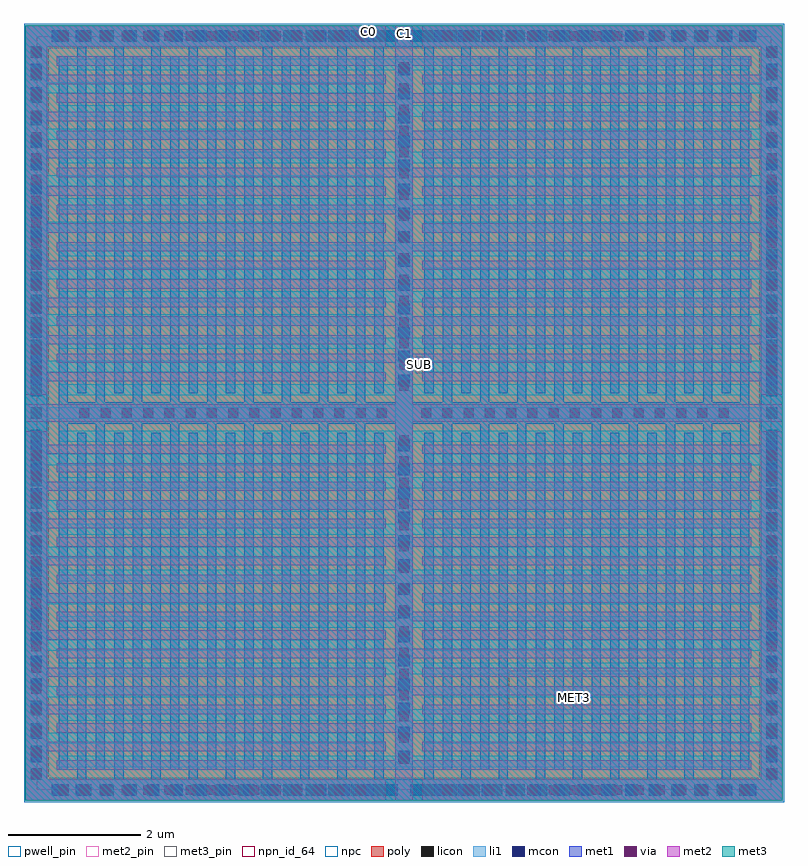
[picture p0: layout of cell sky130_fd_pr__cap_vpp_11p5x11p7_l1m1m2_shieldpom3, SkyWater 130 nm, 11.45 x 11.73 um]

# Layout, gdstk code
import gdstk
lib = gdstk.Library(unit=1e-6, precision=1e-09)
def R(c, l, rs):  # rectangles x0, y0, x1, y1
    for r in rs: c.add(gdstk.rectangle(r[:2], r[2:], *l))
def A(c, l, x, y, w, h, nx, ny, dx, dy):  # array of equal rectangles
    R(c, l, [(x+i*dx, y+j*dy, x+i*dx+w, y+j*dy+h) for i in range(nx) for j in range(ny)])
poly = (66, 20)
licon = (66, 44)
li1 = (67, 20)
mcon = (67, 44)
met1 = (68, 20)
via = (68, 44)
met2_pin = (69, 16)
met2 = (69, 20)
met3_pin = (70, 16)
met3 = (70, 20)
npn_id_64 = (82, 64)
npc = (95, 20)
pwell_pin = (122, 16)

sky130_fd_pr__cap_vpp_11 = lib.new_cell('sky130_fd_pr__cap_vpp_11p5x11p7_l1m1m2_shieldpom3')
R(sky130_fd_pr__cap_vpp_11, poly, [(0,0,5.84,6.005), (5.57,0,11.41,6.005), (0,5.685,5.84,11.69), (5.57,5.685,11.41,11.69)])
A(sky130_fd_pr__cap_vpp_11, licon, 0.485, 0.08, 0.17, 0.17, 15, 2, 0.34, 11.36)
A(sky130_fd_pr__cap_vpp_11, licon, 5.995, 0.08, 0.17, 0.17, 15, 2, 0.34, 11.36)
A(sky130_fd_pr__cap_vpp_11, licon, 0.08, 0.32, 0.17, 0.17, 1, 33, 0, 0.34)
A(sky130_fd_pr__cap_vpp_11, licon, 11.16, 0.32, 0.17, 0.17, 1, 33, 0, 0.34)
A(sky130_fd_pr__cap_vpp_11, li1, 0.5, 0.51, 5.07, 0.17, 1, 16, 0, 0.7)
A(sky130_fd_pr__cap_vpp_11, li1, 5.835, 0.51, 5.07, 0.17, 1, 16, 0, 0.7)
A(sky130_fd_pr__cap_vpp_11, li1, 0.33, 0.86, 5.07, 0.17, 1, 15, 0, 0.7)
A(sky130_fd_pr__cap_vpp_11, li1, 6.01, 0.86, 5.07, 0.17, 1, 15, 0, 0.7)
R(sky130_fd_pr__cap_vpp_11, li1, [(0,0,0.33,6.005), (0.33,0,5.84,0.33), (5.57,0,11.08,0.33), (11.08,0,11.41,6.005), (5.57,0.51,5.84,5.58), (5.57,5.58,5.84,11.18), (0,5.685,0.33,11.69), (11.08,5.685,11.41,11.69), (0.33,11.36,5.84,11.69), (5.57,11.36,11.08,11.69)])
A(sky130_fd_pr__cap_vpp_11, mcon, 0.4, 0.08, 0.17, 0.17, 30, 2, 0.36, 11.36)
A(sky130_fd_pr__cap_vpp_11, mcon, 0.08, 0.58, 0.17, 0.17, 1, 14, 0, 0.36)
A(sky130_fd_pr__cap_vpp_11, mcon, 11.16, 0.58, 0.17, 0.17, 1, 14, 0, 0.36)
A(sky130_fd_pr__cap_vpp_11, mcon, 5.62, 0.59, 0.17, 0.17, 1, 14, 0, 0.36)
A(sky130_fd_pr__cap_vpp_11, mcon, 5.62, 6.25, 0.17, 0.17, 1, 14, 0, 0.36)
A(sky130_fd_pr__cap_vpp_11, mcon, 0.08, 6.26, 0.17, 0.17, 1, 14, 0, 0.36)
A(sky130_fd_pr__cap_vpp_11, mcon, 11.16, 6.26, 0.17, 0.17, 1, 14, 0, 0.36)
A(sky130_fd_pr__cap_vpp_11, met1, 0.78, 0.33, 0.14, 5.215, 9, 2, 0.56, 5.815)
A(sky130_fd_pr__cap_vpp_11, met1, 6.01, 0.33, 0.14, 5.215, 9, 2, 0.56, 5.815)
A(sky130_fd_pr__cap_vpp_11, met1, 0.5, 0.47, 0.14, 5.215, 9, 2, 0.56, 5.535)
A(sky130_fd_pr__cap_vpp_11, met1, 6.29, 0.47, 0.14, 5.215, 9, 2, 0.56, 5.535)
R(sky130_fd_pr__cap_vpp_11, met1, [(0,0,5.84,0.33), (5.57,0,11.41,0.33), (0,0.33,0.33,5.55), (11.08,0.33,11.41,5.545), (5.57,0.47,5.84,5.685), (11.08,5.545,11.41,6.145), (0,5.55,0.33,6.145), (0.5,5.685,5.84,6.005), (5.57,5.685,10.91,6.005), (5.57,6.005,5.84,11.22), (0,6.145,0.33,11.36), (11.08,6.145,11.41,11.36), (0,11.36,5.84,11.69), (5.57,11.36,11.41,11.69)])
A(sky130_fd_pr__cap_vpp_11, via, 4.015, 0.09, 0.15, 0.15, 1, 3, 0, 5.68)
A(sky130_fd_pr__cap_vpp_11, via, 7.245, 0.09, 0.15, 0.15, 1, 3, 0, 5.68)
A(sky130_fd_pr__cap_vpp_11, via, 0.09, 0.335, 0.15, 0.15, 1, 16, 0, 0.32)
A(sky130_fd_pr__cap_vpp_11, via, 11.17, 0.335, 0.15, 0.15, 1, 16, 0, 0.32)
A(sky130_fd_pr__cap_vpp_11, via, 5.63, 0.56, 0.15, 0.15, 1, 16, 0, 0.32)
A(sky130_fd_pr__cap_vpp_11, via, 0.815, 5.77, 0.15, 0.15, 11, 1, 0.32, 0)
A(sky130_fd_pr__cap_vpp_11, via, 7.245, 5.77, 0.15, 0.15, 11, 1, 0.32, 0)
A(sky130_fd_pr__cap_vpp_11, via, 5.63, 6.18, 0.15, 0.15, 1, 16, 0, 0.32)
A(sky130_fd_pr__cap_vpp_11, via, 0.09, 6.405, 0.15, 0.15, 1, 16, 0, 0.32)
A(sky130_fd_pr__cap_vpp_11, via, 11.17, 6.405, 0.15, 0.15, 1, 16, 0, 0.32)
R(sky130_fd_pr__cap_vpp_11, via, [(0.495,0.09,0.645,0.24), (0.495,0.09,0.645,0.24), (0.815,0.09,0.965,0.24), (0.815,0.09,0.965,0.24), (1.135,0.09,1.285,0.24), (1.135,0.09,1.285,0.24), (1.455,0.09,1.605,0.24), (1.455,0.09,1.605,0.24), (1.775,0.09,1.925,0.24), (1.775,0.09,1.925,0.24), (2.095,0.09,2.245,0.24), (2.095,0.09,2.245,0.24), (2.415,0.09,2.565,0.24), (2.415,0.09,2.565,0.24), (2.735,0.09,2.885,0.24), (2.735,0.09,2.885,0.24), (3.055,0.09,3.205,0.24), (3.055,0.09,3.205,0.24), (3.375,0.09,3.525,0.24), (3.375,0.09,3.525,0.24), (3.695,0.09,3.845,0.24), (3.695,0.09,3.845,0.24), (4.015,0.09,4.165,0.24), (4.335,0.09,4.485,0.24), (4.335,0.09,4.485,0.24), (4.655,0.09,4.805,0.24), (4.655,0.09,4.805,0.24), (4.975,0.09,5.125,0.24), (4.975,0.09,5.125,0.24), (6.285,0.09,6.435,0.24), (6.285,0.09,6.435,0.24), (6.605,0.09,6.755,0.24), (6.605,0.09,6.755,0.24), (6.925,0.09,7.075,0.24), (6.925,0.09,7.075,0.24), (7.245,0.09,7.395,0.24), (7.565,0.09,7.715,0.24), (7.565,0.09,7.715,0.24), (7.885,0.09,8.035,0.24), (7.885,0.09,8.035,0.24), (8.205,0.09,8.355,0.24), (8.205,0.09,8.355,0.24), (8.525,0.09,8.675,0.24), (8.525,0.09,8.675,0.24), (8.845,0.09,8.995,0.24), (8.845,0.09,8.995,0.24), (9.165,0.09,9.315,0.24), (9.165,0.09,9.315,0.24), (9.485,0.09,9.635,0.24), (9.485,0.09,9.635,0.24), (9.805,0.09,9.955,0.24), (9.805,0.09,9.955,0.24), (10.125,0.09,10.275,0.24), (10.125,0.09,10.275,0.24), (10.445,0.09,10.595,0.24), (10.445,0.09,10.595,0.24), (10.765,0.09,10.915,0.24), (10.765,0.09,10.915,0.24), (4.335,5.77,4.485,5.92), (4.335,5.77,4.485,5.92), (4.655,5.77,4.805,5.92), (4.655,5.77,4.805,5.92), (4.975,5.77,5.125,5.92), (4.975,5.77,5.125,5.92), (5.295,5.77,5.445,5.92), (5.295,5.77,5.445,5.92), (5.965,5.77,6.115,5.92), (5.965,5.77,6.115,5.92), (6.285,5.77,6.435,5.92), (6.285,5.77,6.435,5.92), (6.605,5.77,6.755,5.92), (6.605,5.77,6.755,5.92), (6.925,5.77,7.075,5.92), (6.925,5.77,7.075,5.92), (0.495,11.45,0.645,11.6), (0.495,11.45,0.645,11.6), (0.815,11.45,0.965,11.6), (0.815,11.45,0.965,11.6), (1.135,11.45,1.285,11.6), (1.135,11.45,1.285,11.6), (1.455,11.45,1.605,11.6), (1.455,11.45,1.605,11.6), (1.775,11.45,1.925,11.6), (1.775,11.45,1.925,11.6), (2.095,11.45,2.245,11.6), (2.095,11.45,2.245,11.6), (2.415,11.45,2.565,11.6), (2.415,11.45,2.565,11.6), (2.735,11.45,2.885,11.6), (2.735,11.45,2.885,11.6), (3.055,11.45,3.205,11.6), (3.055,11.45,3.205,11.6), (3.375,11.45,3.525,11.6), (3.375,11.45,3.525,11.6), (3.695,11.45,3.845,11.6), (3.695,11.45,3.845,11.6), (4.015,11.45,4.165,11.6), (4.335,11.45,4.485,11.6), (4.335,11.45,4.485,11.6), (4.655,11.45,4.805,11.6), (4.655,11.45,4.805,11.6), (4.975,11.45,5.125,11.6), (4.975,11.45,5.125,11.6), (6.285,11.45,6.435,11.6), (6.285,11.45,6.435,11.6), (6.605,11.45,6.755,11.6), (6.605,11.45,6.755,11.6), (6.925,11.45,7.075,11.6), (6.925,11.45,7.075,11.6), (7.245,11.45,7.395,11.6), (7.565,11.45,7.715,11.6), (7.565,11.45,7.715,11.6), (7.885,11.45,8.035,11.6), (7.885,11.45,8.035,11.6), (8.205,11.45,8.355,11.6), (8.205,11.45,8.355,11.6), (8.525,11.45,8.675,11.6), (8.525,11.45,8.675,11.6), (8.845,11.45,8.995,11.6), (8.845,11.45,8.995,11.6), (9.165,11.45,9.315,11.6), (9.165,11.45,9.315,11.6), (9.485,11.45,9.635,11.6), (9.485,11.45,9.635,11.6), (9.805,11.45,9.955,11.6), (9.805,11.45,9.955,11.6), (10.125,11.45,10.275,11.6), (10.125,11.45,10.275,11.6), (10.445,11.45,10.595,11.6), (10.445,11.45,10.595,11.6), (10.765,11.45,10.915,11.6), (10.765,11.45,10.915,11.6)])
R(sky130_fd_pr__cap_vpp_11, met2_pin, [(5.605,11.47,5.815,11.65), (5.095,11.53,5.245,11.67)])
A(sky130_fd_pr__cap_vpp_11, met2, 0.47, 0.47, 5.1, 0.14, 1, 9, 0, 0.56)
A(sky130_fd_pr__cap_vpp_11, met2, 5.84, 0.47, 5.1, 0.14, 1, 9, 0, 0.56)
A(sky130_fd_pr__cap_vpp_11, met2, 0.33, 0.75, 5.1, 0.14, 1, 9, 0, 0.56)
A(sky130_fd_pr__cap_vpp_11, met2, 5.98, 0.75, 5.1, 0.14, 1, 9, 0, 0.56)
A(sky130_fd_pr__cap_vpp_11, met2, 0.33, 6.32, 5.1, 0.14, 1, 9, 0, 0.56)
A(sky130_fd_pr__cap_vpp_11, met2, 5.98, 6.32, 5.1, 0.14, 1, 9, 0, 0.56)
A(sky130_fd_pr__cap_vpp_11, met2, 0.47, 6.6, 5.1, 0.14, 1, 9, 0, 0.56)
A(sky130_fd_pr__cap_vpp_11, met2, 5.84, 6.6, 5.1, 0.14, 1, 9, 0, 0.56)
R(sky130_fd_pr__cap_vpp_11, met2, [(0,0,5.43,0.33), (5.57,0,5.84,5.71), (5.98,0,11.41,0.33), (0,0.33,0.33,5.57), (11.08,0.33,11.41,5.57), (0,5.71,5.84,5.98), (5.565,5.71,11.41,5.98), (5.57,5.98,5.84,11.69), (0,6.12,0.33,11.36), (11.08,6.12,11.41,11.36), (0,11.36,5.43,11.69), (5.98,11.36,11.41,11.69)])
R(sky130_fd_pr__cap_vpp_11, met3_pin, [(7.285,1.165,9.25,1.965)])
R(sky130_fd_pr__cap_vpp_11, met3, [(0,0,11.41,11.69)])
R(sky130_fd_pr__cap_vpp_11, npn_id_64, [(0.17,0.17,11.24,11.52)])
R(sky130_fd_pr__cap_vpp_11, npc, [(-0.02,-0.02,11.43,0.35), (-0.02,-0.02,0.35,11.71), (11.06,-0.02,11.43,11.71), (-0.02,11.34,11.43,11.71)])
R(sky130_fd_pr__cap_vpp_11, pwell_pin, [(5.88,6.445,5.985,6.69)])
sky130_fd_pr__cap_vpp_11.add(gdstk.Label('C0', (5.17,11.6), layer=69, texttype=5))
sky130_fd_pr__cap_vpp_11.add(gdstk.Label('C1', (5.71,11.56), layer=69, texttype=5))
sky130_fd_pr__cap_vpp_11.add(gdstk.Label('MET3', (8.27,1.565), layer=70, texttype=5))
sky130_fd_pr__cap_vpp_11.add(gdstk.Label('SUB', (5.935,6.57), layer=64, texttype=59))

lib.write_gds('sky130_fd_pr__cap_vpp_11p5x11p7_l1m1m2_shieldpom3.gds')
